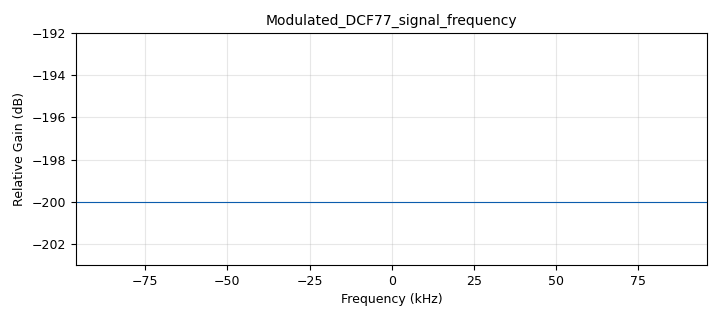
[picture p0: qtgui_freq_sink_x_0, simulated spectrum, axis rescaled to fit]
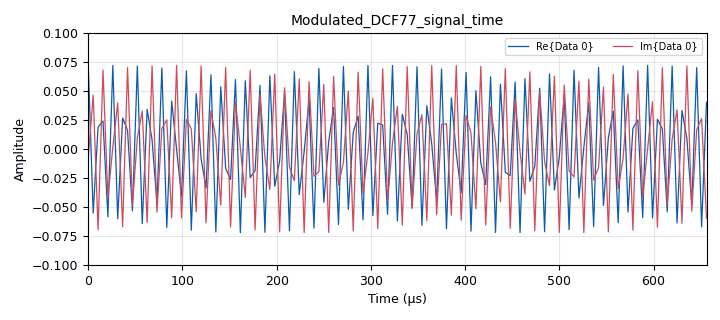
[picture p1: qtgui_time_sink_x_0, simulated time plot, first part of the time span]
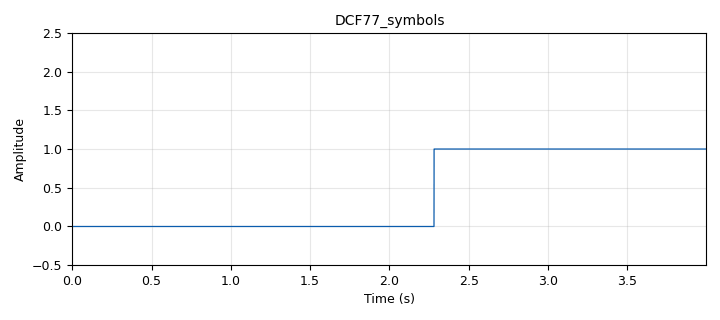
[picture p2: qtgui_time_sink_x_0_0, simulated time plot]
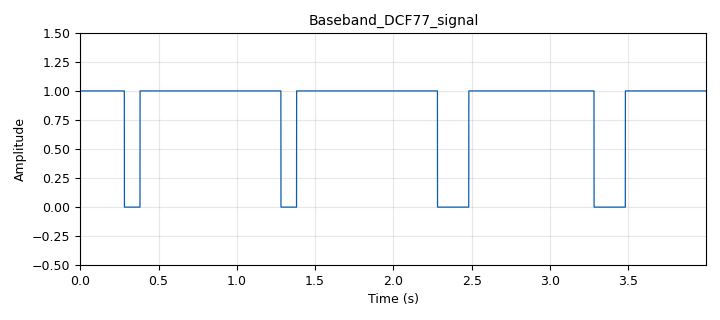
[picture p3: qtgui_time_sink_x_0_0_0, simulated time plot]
options:
  parameters:
    author: henningM1R
    generate_options: qt_gui
    id: DCF77_Transmitter
    output_language: python
    title: DCF77 Transmitter
  states: {}

blocks:
- name: freq_DCF77
  id: variable
  parameters:
    value: '77500'
  states: {}
- name: gain
  id: variable_qtgui_range
  parameters:
    gui_hint: (0,0)
    label: Gain
    start: '0.01'
    step: '0.01'
    stop: '3'
    value: '0.072'
  states: {}
- name: samp_rate
  id: variable
  parameters:
    value: int(192000)
  states: {}
- name: analog_const_source_x_0
  id: analog_const_source_x
  parameters:
    const: '0'
    type: float
  states: {}
- name: analog_sig_source_x_2
  id: analog_sig_source_x
  parameters:
    amp: '1'
    comment: |-
      modulation signal to shift the
      pass band signal to 77.5 kHz
    freq: '77500'
    offset: '0'
    phase: '0'
    samp_rate: '192000'
    type: complex
    waveform: analog.GR_COS_WAVE
  states: {}
- name: blocks_add_xx_0
  id: blocks_add_xx
  parameters:
    type: float
  states: {}
- name: blocks_char_to_float_0
  id: blocks_char_to_float
  parameters:
    comment: |-
      converts byte values
      to float value
    scale: '1'
  states: {}
- name: blocks_float_to_complex_0
  id: blocks_float_to_complex
  parameters: {}
  states: {}
- name: blocks_multiply_const_xx_0
  id: blocks_multiply_const_xx
  parameters:
    const: gain
    type: float
  states: {}
- name: blocks_multiply_xx_0
  id: blocks_multiply_xx
  parameters:
    type: complex
  states: {}
- name: blocks_repeat_0
  id: blocks_repeat
  parameters:
    comment: |-
      each bit streches a number
      of "samp_rate" samples,
      i.e. fill one full second
    interp: samp_rate
    type: float
  states: {}
- name: blocks_tags_strobe_0_0_1
  id: blocks_tags_strobe
  parameters:
    comment: set a tag each second
    key: pmt.intern("Second")
    nsamps: samp_rate
    type: float
    value: pmt.intern("second")
  states: {}
- name: blocks_vector_source_x_0
  id: blocks_vector_source_x
  parameters:
    comment: |-
      test signal without a
      specific DCF77 encoding
    repeat: 'True'
    type: byte
    vector: (1,1,1,1,1,0,0,0,0,0,0,1,1,1,1,1,0,0,0,0,0)
  states: {state: disabled}
- name: blocks_vector_source_x_0_0
  id: blocks_vector_source_x
  parameters:
    comment: |-
      example DCF77 encoded
      bit-stream (with random
      weather data bits)
      full length: must be 60 elements,
      the last element must be a 2
    repeat: 'True'
    type: byte
    vector: (0,0,1,1,1,0,0,0,0,0,0,0,0,1,1,0,0,0,1,0,1,1,0,1,0,1,0,1,0,1,1,1,0,1,0,0,1,0,0,0,1,0,0,1,1,1,1,0,0,0,1,1,0,0,0,1,0,0,1,2)
  states: {}
- name: epy_block_0
  id: epy_block
  parameters:
    _source_code: |
      """
      Embedded Python Blocks:

      Each time this file is saved, GRC will instantiate the first class it finds
      to get ports and parameters of your block. The arguments to __init__  will
      be the parameters. All of them are required to have default values!
      """

      import numpy as np
      from gnuradio import gr
      import pmt



      # counted number of zero samples
      _num_zeros = 0

      # counted number of one samples
      _num_ones = 0

      # counted number of two samples
      _num_twos = 0

      # counted number of seconds
      _num_secs = 0


      class blk(gr.sync_block):

          def __init__(self, scaling=1, samp_rate=768000):
              """arguments to this function show up as parameters in GRC"""
              gr.sync_block.__init__(
                  self,
                  name='DCF77-Signalling',
                  in_sig=[np.float32],
                  out_sig=[np.float32]
              )

              # block parameters
              self.scaling = scaling
              self.sample_rate = samp_rate

              # messaging port
              self.message_port_register_out(pmt.intern('msg_out'))
              
              # 0.1s of zeros for the zero-bit (100ms pause)
              self._zero = int(self.sample_rate/self.scaling*0.1)

              # 0.9s of ones for the zero-bit
              self._zero_compl = int(self.sample_rate/self.scaling*0.9)

              # 0.2s of zeros for the one-bit (200ms pause)
              self._one = int(self.sample_rate/self.scaling*0.2)

              # 0.8s of ones for the one-bit
              self._one_compl = int(self.sample_rate/self.scaling*0.8)

              # 1.9s of ones for the zero-bit at position 58 (with prolonged ones)
              self._reinit_zero = int(self.sample_rate/self.scaling*1.9)

              # 1.8s of ones for the one-bit at position 58 (with prolonged ones)
              self._reinit_one = int(self.sample_rate/self.scaling*1.8)

              print("zero:", self._zero)
              print("zero_compl:", self._zero_compl)
              print("one:", self._one)
              print("one_compl:", self._one_compl)
              print("reinit_zero:", self._reinit_zero)
              print("reinit_one:", self._reinit_one)


          def work(self, input_items, output_items):
              inp = input_items[0]
              out = output_items[0]
              
              tags = self.get_tags_in_window(0, 0, len(inp))

              out[:] = self.bits_to_base_band_signal(inp)
              
              # forward input tagged signal
              return len(output_items[0])
         

          def bits_to_base_band_signal(self, inp):
              global _num_zeros        
              global _num_ones
              global _num_twos
              global _num_secs

              # The total number of samples does not change from input to output
              # just the value might change 
              out = inp

              #tags = self.get_tags_in_window(0, 0, len(inp))

              # Process the individual (finite length) stream block currently received.
              # Either a frame (sample_rate) full of ones, or a frame full of zeros is received.
              for idx, ch in enumerate(inp):
                  # 1 is default, especially for the 59th second
                  out[idx] = 1

                  if _num_secs > 59: 
                      _num_secs = 0
                  
                  # receiving frame of zeros
                  if (ch == 0):
                      _num_zeros += 1
                      _num_ones = 0
                      _num_twos = 0     
                          
                      # if the number of zeros is below 0.1s of the frame
                      if (_num_zeros < self._zero and _num_secs < 59):
                          # set the output to "1" for the current sample
                          out[idx] = 0
                      
                      # if the number of zeros is equal 0.1s of the frame
                      elif (_num_zeros == self._zero and _num_secs < 59):
                          # set output to "0" for the current sample
                          out[idx] = 0
                              
                          # set tag for this 100ms pause
                          key = pmt.intern("0")
                          value = pmt.intern("100ms")
                          self.add_item_tag(0,
                              self.nitems_written(0) + idx,
                              key,
                              value
                          )
                  
                      # if the number of zeros is above 0.1s of the frame
                      elif (_num_zeros > self._zero and _num_secs < 59):
                          # set output to "1" for the current sample
                          out[idx] = 1
                     
                      # full second from a full frame of zeros
                      if _num_zeros >= self.sample_rate:
                          _num_zeros = 0
                          _num_ones = 0
                          _num_twos = 0
                          _num_secs += 1
                          
                          if _num_secs < 59:
                              # set tag for full second
                              key = pmt.intern("sec")
                              value = pmt.intern("0")
                              self.add_item_tag(0,
                                  self.nitems_written(0) + idx,
                                  key,
                                  value
                              )

                          print(f"{_num_secs:02d}: 0")

                  # receiving frame of ones
                  elif (ch == 1):
                      _num_ones += 1
                      _num_zeros = 0
                      _num_twos = 0
                          
                      # if the number of ones is below 0.2s of the frame
                      if (_num_ones < self._one and _num_secs < 59):
                          # set the output to "0" for the current sample
                          out[idx] = 0

                      # if the number of ones is equal 0.2s of the frame
                      elif (_num_ones == self._one and _num_secs < 59):
                          # set output to "0" for the current sample
                          out[idx] = 0
                          # set tag for this 200ms pause
                          key = pmt.intern("1")
                          value = pmt.intern("200ms")
                          self.add_item_tag(0,
                              self.nitems_written(0) + idx,
                              key,
                              value
                          )

                      # if the number of ones is above 0.2s of the frame
                      elif (_num_ones > self._one and _num_secs < 59):
                          # set output to "1" for the current sample
                          out[idx] = 1
                     
                      # full second from a full frame of ones
                      if _num_ones >= self.sample_rate:
                          _num_ones = 0
                          _num_zeros = 0
                          _num_twos = 0
                          _num_secs += 1

                          if _num_secs < 59:
                              # set tag for full second
                              key = pmt.intern("sec")
                              value = pmt.intern("1")
                              self.add_item_tag(0,
                                  self.nitems_written(0) + idx,
                                  key,
                                  value
                              )

                          print(f"{_num_secs:02d}: 1")

                  # receiving frame of twos (=> 59th second)
                  elif (ch == 2):
                      _num_zeros = 0
                      _num_ones = 0
                      
                      if _num_twos == 0:
                          _num_secs += 1
                          _num_twos += 1

                          out[idx] = 1

                          print(f"{_num_secs:02d}: _")

                      elif _num_twos >= 1 and _num_twos < self.sample_rate:
                          _num_twos += 1
                          
                          out[idx] = 1
                          
                      elif _num_twos >= self.sample_rate:
                          _num_twos = 0
                          
                          out[idx] = 1
              
              # return (float) signal block
              return out
    comment: |-
      * encode bits to signals
      * each bit has a total signal
         length of "samp_rate"
      * convert 0 bit to:
       100ms low (0) , 900ms high (1)
      * convert 1 bit to:
      200ms low (0),  800ms high (1)
    samp_rate: samp_rate
    scaling: '1'
  states: {}
- name: network_tcp_sink_0
  id: network_tcp_sink
  parameters:
    mode: '2'
    port: '55553'
    type: complex
  states: {}
- name: qtgui_freq_sink_x_0
  id: qtgui_freq_sink_x
  parameters:
    bw: samp_rate
    fc: '0'
    fftsize: '1024'
    gui_hint: (4,0)
    name: Modulated_DCF77_signal_frequency
    type: complex
  states: {}
- name: qtgui_time_sink_x_0
  id: qtgui_time_sink_x
  parameters:
    gui_hint: (3,0)
    name: Modulated_DCF77_signal_time
    size: samp_rate*4
    srate: samp_rate
    type: complex
    ymax: '0.1'
    ymin: '-0.1'
  states: {}
- name: qtgui_time_sink_x_0_0
  id: qtgui_time_sink_x
  parameters:
    gui_hint: (1,0)
    name: DCF77_symbols
    size: samp_rate*4
    srate: samp_rate
    type: float
    ymax: '2.5'
    ymin: '-0.5'
  states: {}
- name: qtgui_time_sink_x_0_0_0
  id: qtgui_time_sink_x
  parameters:
    gui_hint: (2,0)
    name: Baseband_DCF77_signal
    size: samp_rate*4
    srate: samp_rate
    type: float
    ymax: '1.5'
    ymin: '-0.5'
  states: {}
- name: zeromq_sub_source_0
  id: zeromq_sub_source
  parameters:
    address: tcp://127.0.0.1:55552
    comment: |-
      sends bits from DCF77 Encoder
      1 symbol per second
    timeout: '100'
    type: byte
  states: {state: disabled}

connections:
- [analog_const_source_x_0, '0', blocks_float_to_complex_0, '1']
- [analog_sig_source_x_2, '0', blocks_multiply_xx_0, '0']
- [blocks_add_xx_0, '0', qtgui_time_sink_x_0_0, '0']
- [blocks_char_to_float_0, '0', blocks_repeat_0, '0']
- [blocks_float_to_complex_0, '0', blocks_multiply_xx_0, '1']
- [blocks_multiply_const_xx_0, '0', blocks_float_to_complex_0, '0']
- [blocks_multiply_xx_0, '0', network_tcp_sink_0, '0']
- [blocks_multiply_xx_0, '0', qtgui_freq_sink_x_0, '0']
- [blocks_multiply_xx_0, '0', qtgui_time_sink_x_0, '0']
- [blocks_repeat_0, '0', blocks_add_xx_0, '1']
- [blocks_repeat_0, '0', epy_block_0, '0']
- [blocks_tags_strobe_0_0_1, '0', blocks_add_xx_0, '0']
- [blocks_vector_source_x_0, '0', blocks_char_to_float_0, '0']
- [blocks_vector_source_x_0_0, '0', blocks_char_to_float_0, '0']
- [epy_block_0, '0', blocks_multiply_const_xx_0, '0']
- [epy_block_0, '0', qtgui_time_sink_x_0_0_0, '0']
- [zeromq_sub_source_0, '0', blocks_char_to_float_0, '0']

metadata:
  file_format: 1
